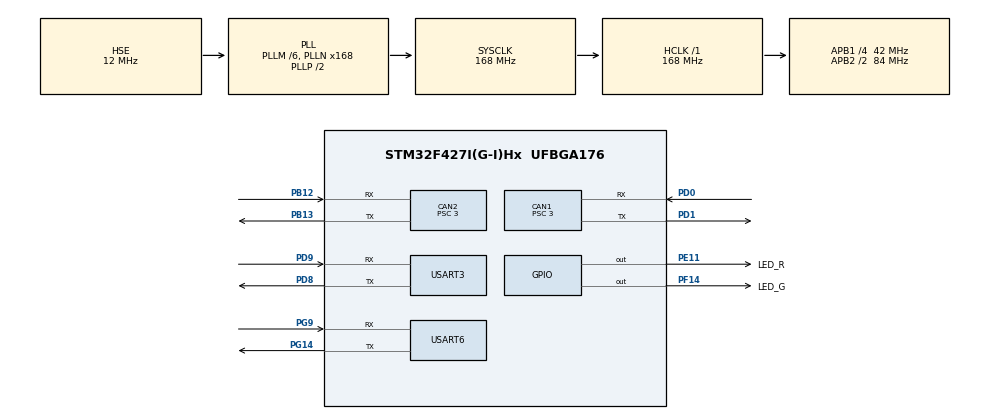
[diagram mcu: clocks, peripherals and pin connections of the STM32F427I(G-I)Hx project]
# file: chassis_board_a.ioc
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CAN1.BS1=CAN_BS1_10TQ
CAN1.BS2=CAN_BS2_3TQ
CAN1.CalculateBaudRate=1000000
CAN1.CalculateTimeBit=1000
CAN1.CalculateTimeQuantum=71.42857142857143
CAN1.Prescaler=3
CAN2.BS1=CAN_BS1_10TQ
CAN2.BS2=CAN_BS2_3TQ
CAN2.CalculateBaudRate=1000000
CAN2.CalculateTimeBit=1000
CAN2.CalculateTimeQuantum=71.42857142857143
CAN2.Prescaler=3
Dma.Request0=USART3_RX
Dma.Request1=USART3_TX
Dma.Request2=USART6_RX
Dma.Request3=USART6_TX
Dma.USART3_RX.0.Direction=DMA_PERIPH_TO_MEMORY
Dma.USART3_RX.0.FIFOMode=DMA_FIFOMODE_DISABLE
Dma.USART3_RX.0.Instance=DMA1_Stream1
Dma.USART3_RX.0.MemDataAlignment=DMA_MDATAALIGN_BYTE
Dma.USART3_RX.0.MemInc=DMA_MINC_ENABLE
Dma.USART3_RX.0.Mode=DMA_NORMAL
Dma.USART3_RX.0.PeriphDataAlignment=DMA_PDATAALIGN_BYTE
Dma.USART3_RX.0.PeriphInc=DMA_PINC_DISABLE
Dma.USART3_RX.0.Priority=DMA_PRIORITY_LOW
Dma.USART3_TX.1.Direction=DMA_MEMORY_TO_PERIPH
Dma.USART3_TX.1.FIFOMode=DMA_FIFOMODE_DISABLE
Dma.USART3_TX.1.Instance=DMA1_Stream3
Dma.USART3_TX.1.MemDataAlignment=DMA_MDATAALIGN_BYTE
Dma.USART3_TX.1.MemInc=DMA_MINC_ENABLE
Dma.USART3_TX.1.Mode=DMA_NORMAL
Dma.USART3_TX.1.PeriphDataAlignment=DMA_PDATAALIGN_BYTE
Dma.USART3_TX.1.PeriphInc=DMA_PINC_DISABLE
Dma.USART3_TX.1.Priority=DMA_PRIORITY_LOW
Dma.USART6_RX.2.Direction=DMA_PERIPH_TO_MEMORY
Dma.USART6_RX.2.FIFOMode=DMA_FIFOMODE_DISABLE
Dma.USART6_RX.2.Instance=DMA2_Stream1
Dma.USART6_RX.2.MemDataAlignment=DMA_MDATAALIGN_BYTE
Dma.USART6_RX.2.MemInc=DMA_MINC_ENABLE
Dma.USART6_RX.2.Mode=DMA_NORMAL
Dma.USART6_RX.2.PeriphDataAlignment=DMA_PDATAALIGN_BYTE
Dma.USART6_RX.2.PeriphInc=DMA_PINC_DISABLE
Dma.USART6_RX.2.Priority=DMA_PRIORITY_HIGH
Dma.USART6_TX.3.Direction=DMA_MEMORY_TO_PERIPH
Dma.USART6_TX.3.FIFOMode=DMA_FIFOMODE_DISABLE
Dma.USART6_TX.3.Instance=DMA2_Stream6
Dma.USART6_TX.3.MemDataAlignment=DMA_MDATAALIGN_BYTE
Dma.USART6_TX.3.MemInc=DMA_MINC_ENABLE
Dma.USART6_TX.3.Mode=DMA_NORMAL
Dma.USART6_TX.3.PeriphDataAlignment=DMA_PDATAALIGN_BYTE
Dma.USART6_TX.3.PeriphInc=DMA_PINC_DISABLE
Dma.USART6_TX.3.Priority=DMA_PRIORITY_HIGH
FREERTOS.Tasks01=defaultTask,0,128,StartDefaultTask,Default,NULL,Dynamic,NULL,NULL;communication,-3,128,communication_task,Default,NULL,Dynamic,NULL,NULL;can_6020_yaw,-3,128,gimbal_yaw_task,Default,NULL,Dynamic,NULL,NULL;can_3508,-3,128,chassis_task,Default,NULL,Dynamic,NULL,NULL
Mcu.Family=STM32F4
Mcu.Name=STM32F427I(G-I)Hx
Mcu.Package=UFBGA176
NVIC.CAN1_RX0_IRQn=true\:5\:0\:false\:false\:true\:true\:true\:true\:true
NVIC.CAN1_TX_IRQn=true\:5\:0\:false\:false\:true\:true\:true\:true\:true
NVIC.CAN2_RX0_IRQn=true\:5\:0\:false\:false\:true\:true\:true\:true\:true
NVIC.CAN2_TX_IRQn=true\:5\:0\:false\:false\:true\:true\:true\:true\:true
NVIC.DMA1_Stream1_IRQn=true\:5\:0\:false\:false\:true\:true\:false\:true\:true
NVIC.DMA1_Stream3_IRQn=true\:5\:0\:false\:false\:true\:true\:false\:true\:true
NVIC.DMA2_Stream1_IRQn=true\:5\:0\:false\:false\:true\:true\:false\:true\:true
NVIC.DMA2_Stream6_IRQn=true\:5\:0\:false\:false\:true\:true\:false\:true\:true
NVIC.PriorityGroup=NVIC_PRIORITYGROUP_4
NVIC.USART3_IRQn=true\:5\:0\:false\:false\:true\:true\:true\:true\:true
NVIC.USART6_IRQn=true\:5\:0\:false\:false\:true\:true\:true\:true\:true
PA13.Mode=Serial_Wire
PA13.Signal=SYS_JTMS-SWDIO
PA14.Mode=Serial_Wire
PA14.Signal=SYS_JTCK-SWCLK
PB12.Mode=CAN_Activate
PB12.Signal=CAN2_RX
PB13.Mode=CAN_Activate
PB13.Signal=CAN2_TX
PD0.Mode=CAN_Activate
PD0.Signal=CAN1_RX
PD1.Mode=CAN_Activate
PD1.Signal=CAN1_TX
PD8.Mode=Asynchronous
PD8.Signal=USART3_TX
PD9.Mode=Asynchronous
PD9.Signal=USART3_RX
PE11.GPIO_Label=LED_R
PE11.GPIO_PuPd=GPIO_PULLUP
PE11.GPIO_Speed=GPIO_SPEED_FREQ_HIGH
PE11.Signal=GPIO_Output
PF14.GPIO_Label=LED_G
PF14.GPIO_PuPd=GPIO_PULLUP
PF14.GPIO_Speed=GPIO_SPEED_FREQ_HIGH
PF14.Signal=GPIO_Output
PF6.Signal=S_TIM10_CH1
PG14.Mode=Asynchronous
PG14.Signal=USART6_TX
PG9.Mode=Asynchronous
PG9.Signal=USART6_RX
PH0/OSC_IN.Mode=HSE-External-Oscillator
PH0/OSC_IN.Signal=RCC_OSC_IN
PH1/OSC_OUT.Mode=HSE-External-Oscillator
PH1/OSC_OUT.Signal=RCC_OSC_OUT
ProjectManager.HeapSize=0x200
ProjectManager.StackSize=0x400
ProjectManager.TargetToolchain=MDK-ARM V5.32
RCC.48MHZClocksFreq_Value=84000000
RCC.AHBFreq_Value=168000000
RCC.APB1CLKDivider=RCC_HCLK_DIV4
RCC.APB1Freq_Value=42000000
RCC.APB1TimFreq_Value=84000000
RCC.APB2CLKDivider=RCC_HCLK_DIV2
RCC.APB2Freq_Value=84000000
RCC.APB2TimFreq_Value=168000000
RCC.CortexFreq_Value=168000000
RCC.HCLKFreq_Value=168000000
RCC.HSE_VALUE=12000000
RCC.HSI_VALUE=16000000
RCC.LSE_VALUE=32768
RCC.PLLM=6
RCC.PLLN=168
RCC.PLLSourceVirtual=RCC_PLLSOURCE_HSE
RCC.SYSCLKFreq_VALUE=168000000
RCC.SYSCLKSource=RCC_SYSCLKSOURCE_PLLCLK
RCC.VCOOutputFreq_Value=336000000
SH.S_TIM10_CH1.0=TIM10_CH1
USART3.VirtualMode=VM_ASYNC
USART6.VirtualMode=VM_ASYNC
VP_FREERTOS_VS_CMSIS_V1.Mode=CMSIS_V1
board=custom

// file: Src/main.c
/* USER CODE BEGIN Header */
/**
  ******************************************************************************
  * @file           : main.c
  * @brief          : Main program body
  ******************************************************************************
  * @attention
  *
  * Copyright (c) 2022 STMicroelectronics.
  * All rights reserved.
  *
  * This software is licensed under terms that can be found in the LICENSE file
  * in the root directory of this software component.
  * If no LICENSE file comes with this software, it is provided AS-IS.
  *
  ******************************************************************************
  */
/* USER CODE END Header */
#include "main.h"
#include "cmsis_os.h"
#include "can.h"
#include "dma.h"
#include "usart.h"
#include "gpio.h"

void SystemClock_Config(void);
void MX_FREERTOS_Init(void);

/* USER CODE BEGIN 0 */
//??��??????��??
uint16_t can_cnt_1;
uint16_t can_cnt_2;
float target_speed[7];//??????????���?????????��??320rpm
moto_info_t motor_info[MOTOR_MAX_NUM];
pid_struct_t motor_pid[7];

uint8_t can_flag=0;
double step=9158/660;
double r;
double sin_sita;
double cos_sita;
double target_v;
int16_t target_int1;
int16_t target_int2;//??��????????????????????��???
double target_curl;
float yuntai_step=60*(1024-364);
/* USER CODE END 0 */

int main(void)
{

  /* MCU Configuration--------------------------------------------------------*/

  /* Reset of all peripherals, Initializes the Flash interface and the Systick. */

	HAL_Init();

  /* Configure the system clock */
  SystemClock_Config();

  /* Initialize all configured peripherals */
  MX_GPIO_Init();
  MX_DMA_Init();
  MX_CAN1_Init();
  MX_CAN2_Init();
  MX_USART3_UART_Init();
  MX_USART6_UART_Init();
  /* USER CODE BEGIN 2 */
  USART3_Init();
  CAN_AlternateConfig();
  /* USER CODE END 2 */

  /* Call init function for freertos objects (in freertos.c) */
  MX_FREERTOS_Init();

  /* Start scheduler */
  osKernelStart();

  /* We should never get here as control is now taken by the scheduler */
  /* Infinite loop */
  while (1)
  {

  }
}

void SystemClock_Config(void)
{
  RCC_OscInitTypeDef RCC_OscInitStruct = {0};
  RCC_ClkInitTypeDef RCC_ClkInitStruct = {0};

  /** Configure the main internal regulator output voltage
  */
  __HAL_RCC_PWR_CLK_ENABLE();
  __HAL_PWR_VOLTAGESCALING_CONFIG(PWR_REGULATOR_VOLTAGE_SCALE1);

  /** Initializes the RCC Oscillators according to the specified parameters
  * in the RCC_OscInitTypeDef structure.
  */
  RCC_OscInitStruct.OscillatorType = RCC_OSCILLATORTYPE_HSE;
  RCC_OscInitStruct.HSEState = RCC_HSE_ON;
  RCC_OscInitStruct.PLL.PLLState = RCC_PLL_ON;
  RCC_OscInitStruct.PLL.PLLSource = RCC_PLLSOURCE_HSE;
  RCC_OscInitStruct.PLL.PLLM = 6;
  RCC_OscInitStruct.PLL.PLLN = 168;
  RCC_OscInitStruct.PLL.PLLP = RCC_PLLP_DIV2;
  RCC_OscInitStruct.PLL.PLLQ = 4;
  if (HAL_RCC_OscConfig(&RCC_OscInitStruct) != HAL_OK)
  {
    Error_Handler();
  }

  /** Initializes the CPU, AHB and APB buses clocks
  */
  RCC_ClkInitStruct.ClockType = RCC_CLOCKTYPE_HCLK|RCC_CLOCKTYPE_SYSCLK
                              |RCC_CLOCKTYPE_PCLK1|RCC_CLOCKTYPE_PCLK2;
  RCC_ClkInitStruct.SYSCLKSource = RCC_SYSCLKSOURCE_PLLCLK;
  RCC_ClkInitStruct.AHBCLKDivider = RCC_SYSCLK_DIV1;
  RCC_ClkInitStruct.APB1CLKDivider = RCC_HCLK_DIV4;
  RCC_ClkInitStruct.APB2CLKDivider = RCC_HCLK_DIV2;

  if (HAL_RCC_ClockConfig(&RCC_ClkInitStruct, FLASH_LATENCY_5) != HAL_OK)
  {
    Error_Handler();
  }
}

void Error_Handler(void)
{
  __disable_irq();
  while (1)
  {
  }
}

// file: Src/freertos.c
/* USER CODE BEGIN Header */
/**
  ******************************************************************************
  * File Name          : freertos.c
  * Description        : Code for freertos applications
  ******************************************************************************
  * @attention
  *
  * Copyright (c) 2023 STMicroelectronics.
  * All rights reserved.
  *
  * This software is licensed under terms that can be found in the LICENSE file
  * in the root directory of this software component.
  * If no LICENSE file comes with this software, it is provided AS-IS.
  *
  ******************************************************************************
  */
/* USER CODE END Header */

#include "FreeRTOS.h"
#include "task.h"
#include "main.h"
#include "cmsis_os.h"

/* USER CODE BEGIN Includes */
#include "remote_control.h"
#include "math.h"
#include "PID.h"

/* USER CODE END Includes */

osThreadId defaultTaskHandle;
osThreadId communicationHandle;
osThreadId can_6020_yawHandle;
osThreadId can_3508Handle;

void StartDefaultTask(void const * argument);
void communication_task(void const * argument);
void gimbal_yaw_task(void const * argument);
void chassis_task(void const * argument);

void MX_FREERTOS_Init(void); /* (MISRA C 2004 rule 8.1) */

/* GetIdleTaskMemory prototype (linked to static allocation support) */
void vApplicationGetIdleTaskMemory( StaticTask_t **ppxIdleTaskTCBBuffer, StackType_t **ppxIdleTaskStackBuffer, uint32_t *pulIdleTaskStackSize );

/* USER CODE BEGIN GET_IDLE_TASK_MEMORY */
static StaticTask_t xIdleTaskTCBBuffer;
static StackType_t xIdleStack[configMINIMAL_STACK_SIZE];

void vApplicationGetIdleTaskMemory( StaticTask_t **ppxIdleTaskTCBBuffer, StackType_t **ppxIdleTaskStackBuffer, uint32_t *pulIdleTaskStackSize )
{
  *ppxIdleTaskTCBBuffer = &xIdleTaskTCBBuffer;
  *ppxIdleTaskStackBuffer = &xIdleStack[0];
  *pulIdleTaskStackSize = configMINIMAL_STACK_SIZE;
  /* place for user code */
}
/* USER CODE END GET_IDLE_TASK_MEMORY */

void MX_FREERTOS_Init(void) {

  /* Create the thread(s) */
  /* definition and creation of defaultTask */
  osThreadDef(defaultTask, StartDefaultTask, osPriorityNormal, 0, 128);
  defaultTaskHandle = osThreadCreate(osThread(defaultTask), NULL);

  /* definition and creation of communication */
  osThreadDef(communication, communication_task, osPriorityIdle, 0, 128);
  communicationHandle = osThreadCreate(osThread(communication), NULL);

  /* definition and creation of can_6020_yaw */
  osThreadDef(can_6020_yaw, gimbal_yaw_task, osPriorityIdle, 0, 128);
  can_6020_yawHandle = osThreadCreate(osThread(can_6020_yaw), NULL);

  /* definition and creation of can_3508 */
  osThreadDef(can_3508, chassis_task, osPriorityIdle, 0, 128);
  can_3508Handle = osThreadCreate(osThread(can_3508), NULL);

}

void StartDefaultTask(void const * argument)
{
  for(;;)
  {
    osDelay(1);
  }
}

void communication_task(void const * argument)
{
  /* USER CODE BEGIN communication_task */
  /* Infinite loop */
  motor_info[0].set_voltage = 0;
  motor_info[1].set_voltage = 0;
  motor_info[2].set_voltage = 0;
  motor_info[3].set_voltage = 0;
  motor_info[4].set_voltage = 0;
  for (;;)
  {
    if (rc_ctrl.rc.ch[3] > 300)
    {
      can_flag = 1;
      HAL_GPIO_WritePin(GPIOH, GPIO_PIN_10, GPIO_PIN_SET);
    }
    osDelay(1);
  }
  /* USER CODE END communication_task */
}
